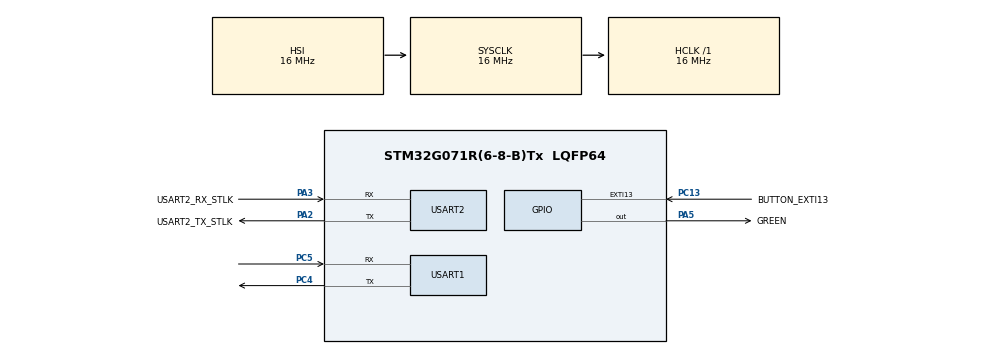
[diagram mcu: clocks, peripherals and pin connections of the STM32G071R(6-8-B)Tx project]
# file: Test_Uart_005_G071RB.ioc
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Mcu.Family=STM32G0
Mcu.Name=STM32G071R(6-8-B)Tx
Mcu.Package=LQFP64
NVIC.EXTI4_15_IRQn=true\:0\:0\:false\:false\:true\:true\:true\:true
PA13.GPIO_Label=TMS
PA13.Mode=Serial_Wire
PA13.Signal=SYS_SWDIO
PA14-BOOT0.GPIO_Label=TCK
PA14-BOOT0.Mode=Serial_Wire
PA14-BOOT0.Signal=SYS_SWCLK
PA2.GPIO_Label=USART2_TX_STLK
PA2.GPIO_PuPd=GPIO_PULLUP
PA2.Mode=Asynchronous
PA2.Signal=USART2_TX
PA3.GPIO_Label=USART2_RX_STLK
PA3.GPIO_PuPd=GPIO_PULLUP
PA3.Mode=Asynchronous
PA3.Signal=USART2_RX
PA5.GPIO_Label=GREEN
PA5.GPIO_Speed=GPIO_SPEED_FREQ_HIGH
PA5.PinState=GPIO_PIN_RESET
PA5.Signal=GPIO_Output
PC13.GPIO_Label=BUTTON_EXTI13
PC13.GPIO_ModeDefaultEXTI=GPIO_MODE_IT_RISING_FALLING
PC13.Signal=GPXTI13
PC14-OSC32_IN\ (PC14).Mode=LSE-External-Oscillator
PC14-OSC32_IN\ (PC14).Signal=RCC_OSC32_IN
PC15-OSC32_OUT\ (PC15).Mode=LSE-External-Oscillator
PC15-OSC32_OUT\ (PC15).Signal=RCC_OSC32_OUT
PC4.Mode=Asynchronous
PC4.Signal=USART1_TX
PC5.Mode=Asynchronous
PC5.Signal=USART1_RX
PF0-OSC_IN\ (PF0).GPIO_Label=MCO
PF0-OSC_IN\ (PF0).Mode=HSE-External-Clock-Source
PF0-OSC_IN\ (PF0).Signal=RCC_OSC_IN
ProjectManager.HeapSize=0x200
ProjectManager.StackSize=0x400
ProjectManager.TargetToolchain=STM32CubeIDE
RCC.AHBFreq_Value=16000000
RCC.CortexFreq_Value=16000000
RCC.EXTERNAL_CLOCK_VALUE=12288000
RCC.HCLKFreq_Value=16000000
RCC.HSE_VALUE=8000000
RCC.HSI_VALUE=16000000
RCC.SYSCLKFreq_VALUE=16000000
RCC.VCOOutputFreq_Value=128000000
USART1.VirtualMode-Asynchronous=VM_ASYNC
USART2.VirtualMode-Asynchronous=VM_ASYNC
board=NUCLEO-G071RB

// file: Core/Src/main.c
/* USER CODE BEGIN Header */
/**
  ******************************************************************************
  * @file           : main.c
  * @brief          : Main program body
  ******************************************************************************
  * @attention
  *
  * Copyright (c) 2022 STMicroelectronics.
  * All rights reserved.
  *
  * This software is licensed under terms that can be found in the LICENSE file
  * in the root directory of this software component.
  * If no LICENSE file comes with this software, it is provided AS-IS.
  *
  ******************************************************************************
  */
  /* CR  = 0x0D \r
 	 LF  = 0x0A \n
  */
/* USER CODE END Header */
#include "main.h"

/* USER CODE BEGIN Includes */
#include <stdio.h>
#include <string.h>
/* USER CODE END Includes */

/* USER CODE BEGIN PD */
#define UART_TX_TIMEOUT		100
#define RX_BUFF_SIZE		50
/* USER CODE END PD */

UART_HandleTypeDef huart1;
UART_HandleTypeDef huart2;

/* USER CODE BEGIN PV */
char                hello[]         = "HELLO Test_Uart_005_G071RB !\n\nPress blue button to send example message: +CIND: (\"battchg\",(0-5)),(\"signal\",(0-5)),(\"service\",(0-1)),(\"call\",(0-1)),(\"roam\",(0-1)),(\"smsfull\",(01)),(\"GPRS coverage\",(0-1)),(\"callsetup\",(0-3))\"\r\n\nRelease button to send confirmation message: OK\r\n" ;
char				ok[]			= "OK\r\n" ;
char				cind[]			= "+CIND: (\"battchg\",(0-5)),(\"signal\",(0-5)),(\"service\",(0-1)),(\"call\",(0-1)),(\"roam\",(0-1)),(\"smsfull\",(01)),(\"GPRS coverage\",(0-1)),(\"callsetup\",(0-3))\"\r\n" ;
HAL_StatusTypeDef   uart_status ;
/* USER CODE END PV */

void SystemClock_Config(void);
static void MX_GPIO_Init(void);
static void MX_USART2_UART_Init(void);
static void MX_USART1_UART_Init(void);

int main(void)
{

  /* MCU Configuration--------------------------------------------------------*/

  /* Reset of all peripherals, Initializes the Flash interface and the Systick. */
  HAL_Init();

  /* Configure the system clock */
  SystemClock_Config();

  /* Initialize all configured peripherals */
  MX_GPIO_Init();
  MX_USART2_UART_Init();
  MX_USART1_UART_Init();
  /* USER CODE BEGIN 2 */
  uart_status = HAL_UART_Transmit ( &huart1 , (const uint8_t *) hello , strlen ( hello ) , UART_TX_TIMEOUT ) ;
  /* USER CODE END 2 */

  /* Infinite loop */
  while (1)
  {

  }
}

void SystemClock_Config(void)
{
  RCC_OscInitTypeDef RCC_OscInitStruct = {0};
  RCC_ClkInitTypeDef RCC_ClkInitStruct = {0};

  /** Configure the main internal regulator output voltage
  */
  HAL_PWREx_ControlVoltageScaling(PWR_REGULATOR_VOLTAGE_SCALE1);

  /** Initializes the RCC Oscillators according to the specified parameters
  * in the RCC_OscInitTypeDef structure.
  */
  RCC_OscInitStruct.OscillatorType = RCC_OSCILLATORTYPE_HSI;
  RCC_OscInitStruct.HSIState = RCC_HSI_ON;
  RCC_OscInitStruct.HSIDiv = RCC_HSI_DIV1;
  RCC_OscInitStruct.HSICalibrationValue = RCC_HSICALIBRATION_DEFAULT;
  RCC_OscInitStruct.PLL.PLLState = RCC_PLL_NONE;
  if (HAL_RCC_OscConfig(&RCC_OscInitStruct) != HAL_OK)
  {
    Error_Handler();
  }

  /** Initializes the CPU, AHB and APB buses clocks
  */
  RCC_ClkInitStruct.ClockType = RCC_CLOCKTYPE_HCLK|RCC_CLOCKTYPE_SYSCLK
                              |RCC_CLOCKTYPE_PCLK1;
  RCC_ClkInitStruct.SYSCLKSource = RCC_SYSCLKSOURCE_HSI;
  RCC_ClkInitStruct.AHBCLKDivider = RCC_SYSCLK_DIV1;
  RCC_ClkInitStruct.APB1CLKDivider = RCC_HCLK_DIV1;

  if (HAL_RCC_ClockConfig(&RCC_ClkInitStruct, FLASH_LATENCY_0) != HAL_OK)
  {
    Error_Handler();
  }
}

static void MX_USART1_UART_Init(void)
{

  huart1.Instance = USART1;
  huart1.Init.BaudRate = 115200;
  huart1.Init.WordLength = UART_WORDLENGTH_8B;
  huart1.Init.StopBits = UART_STOPBITS_1;
  huart1.Init.Parity = UART_PARITY_NONE;
  huart1.Init.Mode = UART_MODE_TX_RX;
  huart1.Init.HwFlowCtl = UART_HWCONTROL_NONE;
  huart1.Init.OverSampling = UART_OVERSAMPLING_16;
  huart1.Init.OneBitSampling = UART_ONE_BIT_SAMPLE_DISABLE;
  huart1.Init.ClockPrescaler = UART_PRESCALER_DIV1;
  huart1.AdvancedInit.AdvFeatureInit = UART_ADVFEATURE_NO_INIT;
  if (HAL_UART_Init(&huart1) != HAL_OK)
  {
    Error_Handler();
  }
  if (HAL_UARTEx_SetTxFifoThreshold(&huart1, UART_TXFIFO_THRESHOLD_1_8) != HAL_OK)
  {
    Error_Handler();
  }
  if (HAL_UARTEx_SetRxFifoThreshold(&huart1, UART_RXFIFO_THRESHOLD_1_8) != HAL_OK)
  {
    Error_Handler();
  }
  if (HAL_UARTEx_DisableFifoMode(&huart1) != HAL_OK)
  {
    Error_Handler();
  }

}

static void MX_USART2_UART_Init(void)
{

  huart2.Instance = USART2;
  huart2.Init.BaudRate = 115200;
  huart2.Init.WordLength = UART_WORDLENGTH_8B;
  huart2.Init.StopBits = UART_STOPBITS_1;
  huart2.Init.Parity = UART_PARITY_NONE;
  huart2.Init.Mode = UART_MODE_TX_RX;
  huart2.Init.HwFlowCtl = UART_HWCONTROL_NONE;
  huart2.Init.OverSampling = UART_OVERSAMPLING_16;
  huart2.Init.OneBitSampling = UART_ONE_BIT_SAMPLE_DISABLE;
  huart2.Init.ClockPrescaler = UART_PRESCALER_DIV1;
  huart2.AdvancedInit.AdvFeatureInit = UART_ADVFEATURE_NO_INIT;
  if (HAL_UART_Init(&huart2) != HAL_OK)
  {
    Error_Handler();
  }
  if (HAL_UARTEx_SetTxFifoThreshold(&huart2, UART_TXFIFO_THRESHOLD_1_8) != HAL_OK)
  {
    Error_Handler();
  }
  if (HAL_UARTEx_SetRxFifoThreshold(&huart2, UART_RXFIFO_THRESHOLD_1_8) != HAL_OK)
  {
    Error_Handler();
  }
  if (HAL_UARTEx_DisableFifoMode(&huart2) != HAL_OK)
  {
    Error_Handler();
  }

}

static void MX_GPIO_Init(void)
{
  GPIO_InitTypeDef GPIO_InitStruct = {0};

  /* GPIO Ports Clock Enable */
  __HAL_RCC_GPIOC_CLK_ENABLE();
  __HAL_RCC_GPIOF_CLK_ENABLE();
  __HAL_RCC_GPIOA_CLK_ENABLE();

  /*Configure GPIO pin Output Level */
  HAL_GPIO_WritePin(GREEN_GPIO_Port, GREEN_Pin, GPIO_PIN_RESET);

  /*Configure GPIO pin : BUTTON_EXTI13_Pin */
  GPIO_InitStruct.Pin = BUTTON_EXTI13_Pin;
  GPIO_InitStruct.Mode = GPIO_MODE_IT_RISING_FALLING;
  GPIO_InitStruct.Pull = GPIO_NOPULL;
  HAL_GPIO_Init(BUTTON_EXTI13_GPIO_Port, &GPIO_InitStruct);

  /*Configure GPIO pin : GREEN_Pin */
  GPIO_InitStruct.Pin = GREEN_Pin;
  GPIO_InitStruct.Mode = GPIO_MODE_OUTPUT_PP;
  GPIO_InitStruct.Pull = GPIO_NOPULL;
  GPIO_InitStruct.Speed = GPIO_SPEED_FREQ_HIGH;
  HAL_GPIO_Init(GREEN_GPIO_Port, &GPIO_InitStruct);

  /* EXTI interrupt init*/
  HAL_NVIC_SetPriority(EXTI4_15_IRQn, 0, 0);
  HAL_NVIC_EnableIRQ(EXTI4_15_IRQn);

}

/* USER CODE BEGIN 4 */
void HAL_GPIO_EXTI_Falling_Callback (uint16_t GPIO_Pin )
{
	if ( GPIO_Pin == BUTTON_EXTI13_Pin )
	{
		uart_status = HAL_UART_Transmit ( &huart1 , (const uint8_t *) cind , strlen ( cind ) , UART_TX_TIMEOUT ) ;
		HAL_GPIO_WritePin ( GREEN_GPIO_Port , GREEN_Pin , GPIO_PIN_SET ) ;
	}
}
void HAL_GPIO_EXTI_Rising_Callback ( uint16_t GPIO_Pin )
{
	if ( GPIO_Pin == BUTTON_EXTI13_Pin )
	{
		uart_status = HAL_UART_Transmit ( &huart1 , (const uint8_t *) ok , strlen ( ok ) , UART_TX_TIMEOUT ) ;
		HAL_GPIO_WritePin ( GREEN_GPIO_Port , GREEN_Pin , GPIO_PIN_RESET ) ;
	}
}
/* USER CODE END 4 */

void Error_Handler(void)
{
  __disable_irq();
  while (1)
  {
  }
}
